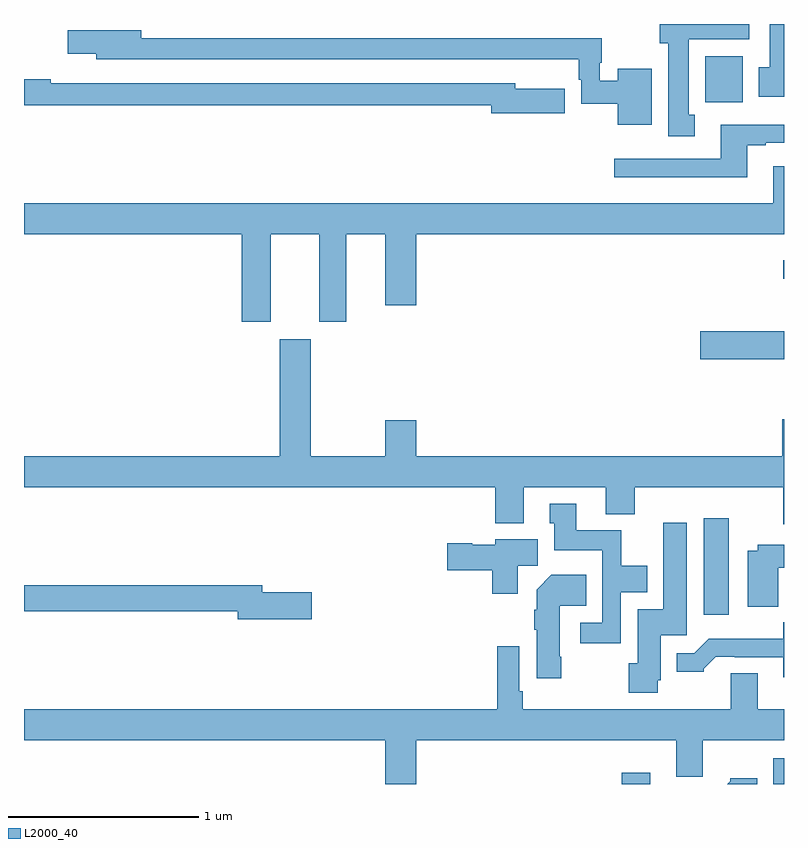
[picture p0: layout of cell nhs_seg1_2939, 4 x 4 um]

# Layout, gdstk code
import gdstk
lib = gdstk.Library(unit=1e-6, precision=1e-09)
def R(c, l, rs):  # rectangles x0, y0, x1, y1
    for r in rs: c.add(gdstk.rectangle(r[:2], r[2:], *l))
def P(c, l, *ps):  # polygons
    for p in ps: c.add(gdstk.Polygon(p, *l))
L2000_40 = (2000, 40)

nhs_seg1_2939 = lib.new_cell('nhs_seg1_2939')
R(nhs_seg1_2939, L2000_40, [(274.145,522.199,274.297,522.259), (274.943,522.199,275,522.334), (274.577,523.089,274.708,523.597), (274.56,524.435,275,524.582), (274.995,524.859,275,524.956), (274.586,525.788,274.783,526.03)])
P(nhs_seg1_2939, L2000_40, [(275,526.199),(274.925,526.199),(274.925,525.972),(274.868,525.972),(274.868,525.816),(275,525.816)],
  [(274.531,525.722),(274.498,525.722),(274.498,526.118),(274.816,526.118),(274.816,526.199),(274.346,526.199),(274.346,526.098),(274.391,526.098),(274.391,525.609),(274.531,525.609)],
  [(274.303,525.964),(274.124,525.964),(274.124,525.901),(274.029,525.901),(274.029,525.996),(274.042,525.996),(274.042,526.123),(271.618,526.123),(271.618,526.165),(271.23,526.165),(271.23,526.043),(271.379,526.043),(271.379,526.014),(273.682,526.014),(273.682,526.013),(273.921,526.013),(273.921,525.906),(273.933,525.906),(273.933,525.78),(274.124,525.78),(274.124,525.668),(274.303,525.668)],
  [(273.847,525.859),(273.586,525.859),(273.586,525.888),(271.142,525.888),(271.142,525.908),(271,525.908),(271,525.772),(273.458,525.772),(273.458,525.73),(273.847,525.73)],
  [(274.807,525.561),(274.903,525.561),(274.903,525.573),(275,525.573),(275,525.67),(274.667,525.67),(274.667,525.489),(274.107,525.489),(274.107,525.392),(274.807,525.392)],
  [(272.299,525.092),(272.555,525.092),(272.555,524.631),(272.695,524.631),(272.695,525.092),(272.9,525.092),(272.9,524.718),(273.064,524.718),(273.064,525.092),(275,525.092),(275,525.451),(274.943,525.451),(274.943,525.256),(271,525.256),(271,525.092),(272.147,525.092),(272.147,524.631),(272.299,524.631)],
  [(275,524.119),(274.991,524.119),(274.991,523.924),(273.064,523.924),(273.064,524.113),(272.9,524.113),(272.9,523.924),(272.509,523.924),(272.509,524.539),(272.345,524.539),(272.345,523.924),(271,523.924),(271,523.76),(273.479,523.76),(273.479,523.571),(273.631,523.571),(273.631,523.76),(274.061,523.76),(274.061,523.619),(274.214,523.619),(274.214,523.76),(274.997,523.76),(274.997,523.566),(275,523.566)],
  [(274.14,523.208),(274.279,523.208),(274.279,523.348),(274.143,523.348),(274.143,523.534),(273.907,523.534),(273.907,523.675),(273.767,523.675),(273.767,523.572),(273.791,523.572),(273.791,523.43),(274.044,523.43),(274.044,523.047),(273.927,523.047),(273.927,522.939),(274.14,522.939)],
  [(274.335,522.744),(274.351,522.744),(274.351,522.981),(274.489,522.981),(274.489,523.573),(274.364,523.573),(274.364,523.12),(274.229,523.12),(274.229,522.834),(274.183,522.834),(274.183,522.678),(274.335,522.678)],
  [(273.598,523.348),(273.703,523.348),(273.703,523.486),(273.48,523.486),(273.48,523.459),(273.36,523.459),(273.36,523.467),(273.228,523.467),(273.228,523.325),(273.464,523.325),(273.464,523.2),(273.598,523.2)],
  [(274.97,523.337),(275,523.337),(275,523.459),(274.863,523.459),(274.863,523.426),(274.808,523.426),(274.808,523.133),(274.97,523.133)],
  [(273.828,522.868),(273.82,522.868),(273.82,523.136),(273.959,523.136),(273.959,523.3),(273.776,523.3),(273.698,523.222),(273.698,523.115),(273.686,523.115),(273.686,523.012),(273.698,523.012),(273.698,522.756),(273.828,522.756)],
  [(272.515,523.208),(272.254,523.208),(272.254,523.244),(271,523.244),(271,523.108),(272.126,523.108),(272.126,523.066),(272.515,523.066)],
  [(275,523.051),(274.995,523.051),(274.995,522.964),(274.603,522.964),(274.527,522.888),(274.436,522.888),(274.436,522.791),(274.578,522.791),(274.578,522.806),(274.642,522.87),(274.741,522.87),(274.741,522.867),(274.997,522.867),(274.997,522.762),(275,522.762)],
  [(273.064,522.428),(274.433,522.428),(274.433,522.238),(274.573,522.238),(274.573,522.428),(275,522.428),(275,522.592),(274.861,522.592),(274.861,522.782),(274.721,522.782),(274.721,522.592),(273.626,522.592),(273.626,522.688),(273.606,522.688),(273.606,522.925),(273.49,522.925),(273.49,522.592),(271,522.592),(271,522.428),(272.9,522.428),(272.9,522.199),(273.064,522.199)],
  [(274.858,522.229),(274.716,522.229),(274.716,522.214),(274.701,522.199),(274.858,522.199)])

lib.write_gds('nhs_seg1_2939.gds')
